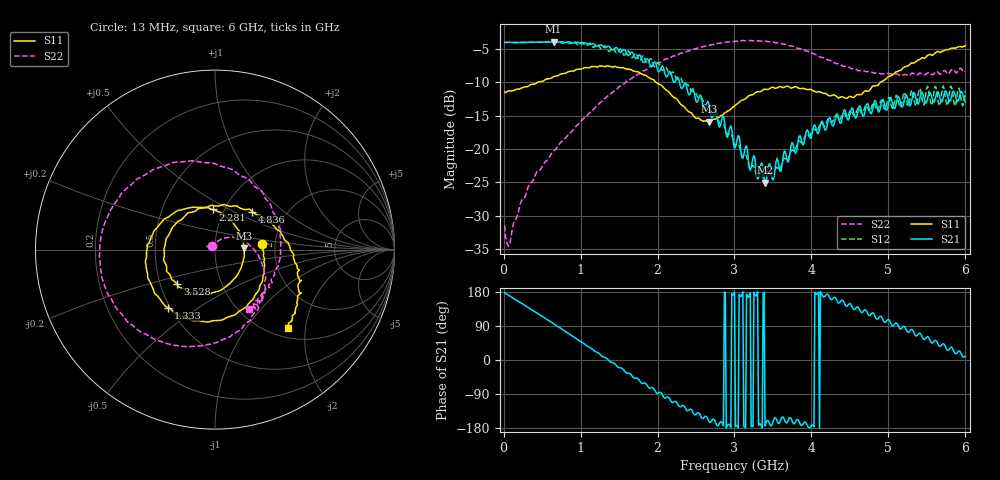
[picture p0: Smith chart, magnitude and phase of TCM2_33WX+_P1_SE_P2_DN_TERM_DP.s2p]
# GHZ S DB R 50.000000000000
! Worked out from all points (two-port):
!   500 points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, 13 MHz to 6 GHz, reference 50 ohm
!   highest |S21| = -3.94 dB at 648.9 MHz (marker M1); lowest = -25.1 dB at 3.396 GHz (marker M2)
!   |S21| within 3 dB of the highest: start of sweep to 1.808 GHz; 1.833 GHz to 1.887 GHz (54.36 MHz wide, 2.92 % of centre)
!   lowest |S11| = -15.9 dB at 2.665 GHz (marker M3), VSWR 1.38, Z = 69 + j1.09 ohm
!   |S11| at or under -10 dB: start of sweep to 445.6 MHz; 1.98 GHz to 4.895 GHz (2.916 GHz wide, 84.8 % of centre)
!   |S22| runs from -34.5 to -3.8 dB; largest |S21 - S12| = 0.074
!   S11 on the Smith chart (normalised r, x): 13 MHz: 1.71, +0.11; 1.333 GHz: 0.49, -0.38; 2.281 GHz: 0.88, +0.41; 3.528 GHz: 0.61, -0.25; 4.836 GHz: 1.36, +0.63; 6 GHz: 1.19, -1.60
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0.012998  -11.49 6.7  -4.04 178.4  -4.03 178.5  -31.48 125.0
0.072988  -11.30 -4.6  -4.04 169.7  -4.04 169.8  -34.42 113.7
0.324946  -10.57 -22.7  -4.04 137.9  -4.00 137.8  -25.49 68.8
0.648892  -9.17 -52.4  -3.94 95.8  -4.02 95.3  -20.34 43.8
1.02083  -8.03 -92.0  -4.23 46.6  -4.04 45.5  -15.65 18.1
1.332778  -7.62 -129.1  -4.77 4.9  -4.68 2.5  -12.27 -7.7
1.68072  -8.31 -173.5  -5.66 -45.2  -6.23 -38.3  -9.29 -36.0
2.016664  -10.31 137.7  -8.46 -86.2  -7.15 -85.4  -7.08 -65.6
2.28062  -13.00 93.5  -9.77 -122.0  -9.42 -116.7  -5.77 -88.1
2.664556  -15.90 2.8  -13.12 -160.6  -13.58 -159.4  -4.51 -120.9
3.012498  -13.43 -71.5  -19.73 -175.4  -19.50 178.0  -3.88 -150.3
3.396434  -11.05 -122.8  -25.06 -174.2  -24.84 -168.9  -3.87 175.1
3.528412  -10.94 -137.8  -22.85 -152.2  -23.11 -155.6  -4.09 162.3
4.008332  -11.17 166.0  -17.71 -171.5  -17.27 -170.9  -5.67 109.9
4.452258  -12.39 101.8  -14.88 142.0  -15.22 147.2  -7.61 52.1
4.836194  -10.53 45.5  -12.90 111.0  -13.86 112.0  -8.63 8.8
5.004166  -9.15 24.9  -13.08 106.8  -12.28 103.2  -8.71 -7.2
5.52008  -5.92 -20.1  -11.90 59.9  -11.00 48.8  -8.57 -41.3
5.556074  -5.93 -21.0  -11.93 46.0  -13.46 49.5  -8.82 -41.9
5.604066  -5.66 -26.4  -12.69 51.7  -10.64 50.0  -8.58 -46.8
5.664056  -5.49 -28.3  -12.15 36.0  -13.55 43.0  -8.76 -46.9
6  -4.51 -47.1  -12.99 10.2  -11.28 17.0  -8.36 -60.7
